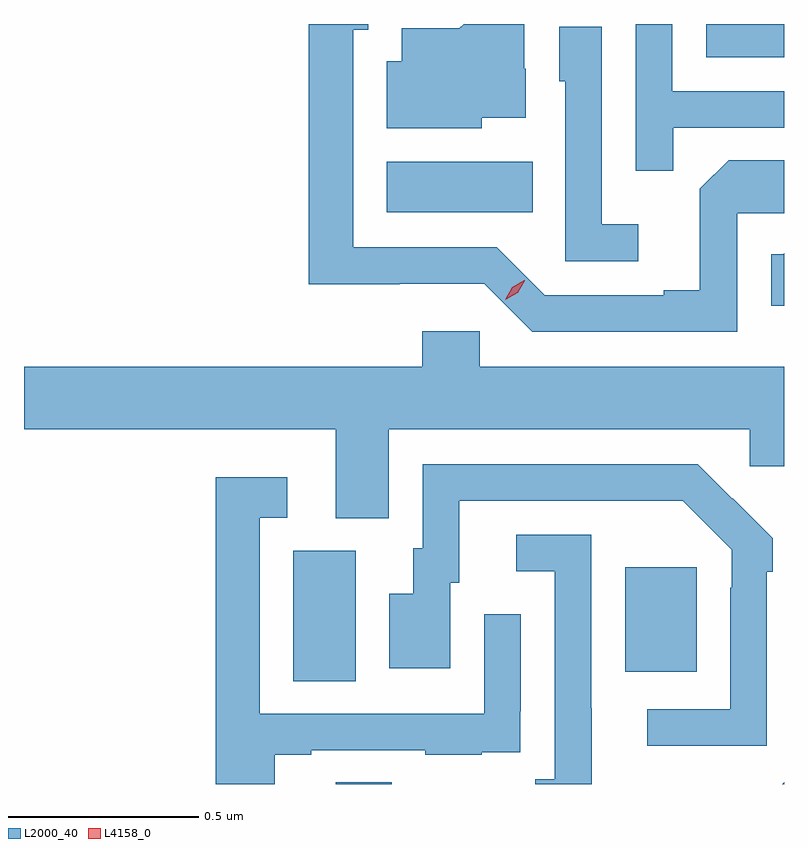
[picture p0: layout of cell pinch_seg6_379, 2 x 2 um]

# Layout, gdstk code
import gdstk
lib = gdstk.Library(unit=1e-6, precision=1e-09)
def R(c, l, rs):  # rectangles x0, y0, x1, y1
    for r in rs: c.add(gdstk.rectangle(r[:2], r[2:], *l))
def P(c, l, *ps):  # polygons
    for p in ps: c.add(gdstk.Polygon(p, *l))
L2000_40 = (2000, 40)
L4158_0 = (4158, 0)

pinch_seg6_379 = lib.new_cell('pinch_seg6_379')
R(pinch_seg6_379, L2000_40, [(633.629,941.074,633.777,941.078), (633.518,941.344,633.682,941.688), (634.391,941.369,634.579,941.644), (633.764,942.578,634.148,942.712), (634.604,942.986,634.809,943.074)])
P(pinch_seg6_379, L2000_40, [(634.686,942.576),(634.809,942.576),(634.809,942.716),(634.663,942.716),(634.587,942.64),(634.587,942.373),(634.493,942.373),(634.493,942.36),(634.179,942.36),(634.053,942.486),(633.676,942.486),(633.676,943.059),(633.715,943.059),(633.715,943.074),(633.558,943.074),(633.558,942.389),(633.798,942.389),(633.798,942.39),(634.02,942.39),(634.146,942.264),(634.686,942.264)],
  [(634.517,942.801),(634.809,942.801),(634.809,942.897),(634.515,942.897),(634.515,943.074),(634.419,943.074),(634.419,942.688),(634.517,942.688)],
  [(634.014,942.827),(634.129,942.827),(634.129,942.956),(634.125,942.956),(634.125,943.074),(633.966,943.074),(633.955,943.063),(633.803,943.063),(633.803,942.976),(633.764,942.976),(633.764,942.8),(634.014,942.8)],
  [(634.426,942.547),(634.329,942.547),(634.329,943.067),(634.218,943.067),(634.218,942.924),(634.233,942.924),(634.233,942.45),(634.426,942.45)],
  [(634.809,942.471),(634.806,942.468),(634.775,942.468),(634.775,942.332),(634.809,942.332)],
  [(633.769,942.008),(634.719,942.008),(634.719,941.91),(634.809,941.91),(634.809,942.172),(634.008,942.172),(634.008,942.265),(633.857,942.265),(633.857,942.172),(632.809,942.172),(632.809,942.008),(633.629,942.008),(633.629,941.773),(633.769,941.773)],
  [(634.764,941.633),(634.779,941.633),(634.779,941.721),(634.674,941.826),(634.673,941.825),(634.582,941.916),(633.858,941.916),(633.858,941.694),(633.833,941.694),(633.833,941.575),(633.77,941.575),(633.77,941.379),(633.931,941.379),(633.931,941.604),(633.955,941.604),(633.955,941.82),(634.543,941.82),(634.671,941.691),(634.671,941.591),(634.668,941.591),(634.668,941.271),(634.449,941.271),(634.449,941.175),(634.764,941.175)],
  [(633.469,941.151),(633.565,941.151),(633.565,941.163),(633.865,941.163),(633.865,941.151),(634.013,941.151),(634.013,941.157),(634.115,941.157),(634.115,941.266),(634.116,941.266),(634.116,941.521),(634.02,941.521),(634.02,941.259),(633.429,941.259),(633.429,941.775),(633.502,941.775),(633.502,941.881),(633.313,941.881),(633.313,941.074),(633.469,941.074)],
  [(634.303,941.273),(634.302,941.273),(634.302,941.73),(634.104,941.73),(634.104,941.634),(634.206,941.634),(634.206,941.086),(634.155,941.086),(634.155,941.074),(634.303,941.074)],
  [(634.809,941.079),(634.804,941.074),(634.809,941.074)])
P(pinch_seg6_379, L4158_0, [(634.076,942.349),(634.076,942.349),(634.094,942.381),(634.126,942.4),(634.127,942.4),(634.127,942.399),(634.108,942.367),(634.076,942.349)])

lib.write_gds('pinch_seg6_379.gds')
